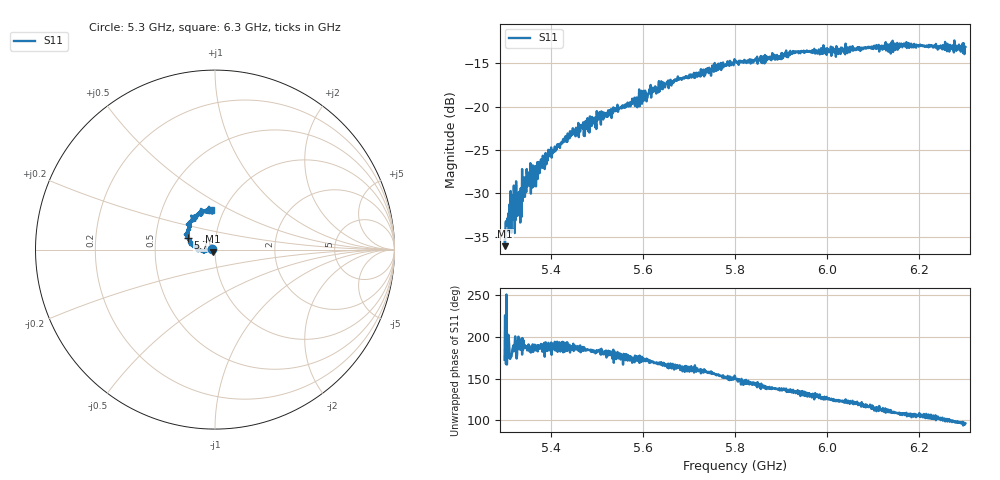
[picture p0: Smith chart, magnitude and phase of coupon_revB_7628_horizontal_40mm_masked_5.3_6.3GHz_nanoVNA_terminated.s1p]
! NanoVNA-App
! Date: 2026-11-01 21:56:01
! Start: 5,3GHz Stop: 6,3GHz Points: 1001
! S-Parameter data: F S11
# Hz S RI R 50
!  Frequency  S11_Real  S11_Imag
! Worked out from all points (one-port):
!   1001 points, 5.3 GHz to 6.3 GHz, reference 50 ohm
!   lowest |S11| = -36.1 dB at 5.301 GHz (marker M1), VSWR 1.03, Z = 48.9 - j1.1 ohm
!   |S11| at or under -10 dB: start of sweep to end of sweep
!   S11 on the Smith chart (normalised r, x): 5.3 GHz: 0.97, +0.00; 5.75 GHz: 0.73, +0.09; 6.3 GHz: 0.87, +0.40
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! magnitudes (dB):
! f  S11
! 5.3 GHz  -35.4
! 5.301 GHz  -36.1
! 5.308 GHz  -32.3
! 5.314 GHz  -34.3
! 5.316 GHz  -30.2
! 5.319 GHz  -33.0
! 5.321 GHz  -31.1
! 5.326 GHz  -31.2
! 5.33 GHz  -31.5
! 5.332 GHz  -30.3
! 5.336 GHz  -30.7
! 5.342 GHz  -30.4
! 5.343 GHz  -28.1
! 5.344 GHz  -30.4
! 5.353 GHz  -28.1
! 5.364 GHz  -28.7
! 5.378 GHz  -26.4
! 5.425 GHz  -24.2
! 5.481 GHz  -21.7
! 5.55 GHz  -20.2
! 5.675 GHz  -16.7
! 5.75 GHz  -15.7
! 5.8 GHz  -14.7
! 5.897 GHz  -14.4
! 5.925 GHz  -13.8
! 6.05 GHz  -13.1
! 6.175 GHz  -12.8
! 6.3 GHz  -13.1
